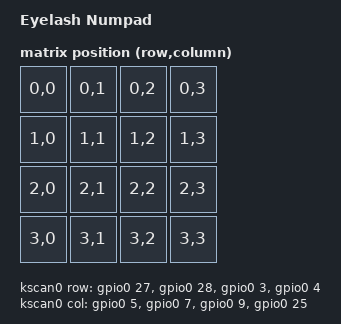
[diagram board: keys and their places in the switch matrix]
/dts-v1/;
#include <nordic/nrf52832_qfaa.dtsi>
#include <zephyr/dt-bindings/gpio/gpio.h>
#include <dt-bindings/zmk/matrix_transform.h>
#include <physical_layouts.dtsi>

/ {
    model = "Eyelash Numpad";
    compatible = "eyelash,numpad";
    chosen {
        zephyr,sram = &sram0;
        zephyr,flash = &flash0;
        zmk,kscan = &kscan0;
        zmk,battery = &vbatt;
        zmk,physical-layout = &numpad_layout;
        zephyr,code-partition = &code_partition;
    };
    kscan0: kscan {
        compatible = "zmk,kscan-gpio-matrix";
        diode-direction = "col2row";
        wakeup-source;
        row-gpios = <&gpio0 27 (GPIO_ACTIVE_HIGH | GPIO_PULL_DOWN)>,
                    <&gpio0 28 (GPIO_ACTIVE_HIGH | GPIO_PULL_DOWN)>,
                    <&gpio0 3 (GPIO_ACTIVE_HIGH | GPIO_PULL_DOWN)>,
                    <&gpio0 4 (GPIO_ACTIVE_HIGH | GPIO_PULL_DOWN)>;
        col-gpios = <&gpio0 5 GPIO_ACTIVE_HIGH>,
                    <&gpio0 7 GPIO_ACTIVE_HIGH>,
                    <&gpio0 9 GPIO_ACTIVE_HIGH>,
                    <&gpio0 25 GPIO_ACTIVE_HIGH>;
    };
    default_transform: matrix_transform {
        compatible = "zmk,matrix-transform";
        rows = <4>;
        columns = <4>;
        map = <
            RC(0,0) RC(0,1) RC(0,2) RC(0,3)
            RC(1,0) RC(1,1) RC(1,2) RC(1,3)
            RC(2,0) RC(2,1) RC(2,2) RC(2,3)
            RC(3,0) RC(3,1) RC(3,2) RC(3,3)
        >;
    };
    numpad_layout: numpad_layout {
        compatible = "zmk,physical-layout";
        display-name = "Eyelash Numpad 16 keys";
        transform = <&default_transform>;
        kscan = <&kscan0>;
        keys = <&key_physical_attrs 100 100   0   0 0 0 0>,
               <&key_physical_attrs 100 100 100   0 0 0 0>,
               <&key_physical_attrs 100 100 200   0 0 0 0>,
               <&key_physical_attrs 100 100 300   0 0 0 0>,
               <&key_physical_attrs 100 100   0 100 0 0 0>,
               <&key_physical_attrs 100 100 100 100 0 0 0>,
               <&key_physical_attrs 100 100 200 100 0 0 0>,
               <&key_physical_attrs 100 100 300 100 0 0 0>,
               <&key_physical_attrs 100 100   0 200 0 0 0>,
               <&key_physical_attrs 100 100 100 200 0 0 0>,
               <&key_physical_attrs 100 100 200 200 0 0 0>,
               <&key_physical_attrs 100 100 300 200 0 0 0>,
               <&key_physical_attrs 100 100   0 300 0 0 0>,
               <&key_physical_attrs 100 100 100 300 0 0 0>,
               <&key_physical_attrs 100 100 200 300 0 0 0>,
               <&key_physical_attrs 100 100 300 300 0 0 0>;
    };
    vbatt: vbatt {
        compatible = "zmk,battery-voltage-divider";
        io-channels = <&adc 0>;
        output-ohms = <2000000>;
        full-ohms = <2806000>;
    };
};
&adc { status = "okay"; };
&gpiote { status = "okay"; };
&gpio0 { status = "okay"; };

/* The bootloader uses S132 only during DFU; ZMK uses Zephyr's BLE stack. */
&flash0 {
    partitions {
        compatible = "fixed-partitions";
        #address-cells = <1>;
        #size-cells = <1>;
        sd_partition: partition@0 {
            label = "mbr-softdevice";
            reg = <0x00000000 0x00026000>;
        };
        code_partition: partition@26000 {
            label = "code";
            reg = <0x00026000 0x00047000>;
        };
        storage_partition: partition@6d000 {
            label = "storage";
            reg = <0x0006d000 0x00007000>;
        };
        boot_partition: partition@74000 {
            label = "bootloader";
            reg = <0x00074000 0x0000a000>;
        };
        mbr_params_partition: partition@7e000 {
            label = "mbr-params";
            reg = <0x0007e000 0x00001000>;
        };
        boot_settings_partition: partition@7f000 {
            label = "bootloader-settings";
            reg = <0x0007f000 0x00001000>;
        };
    };
};

